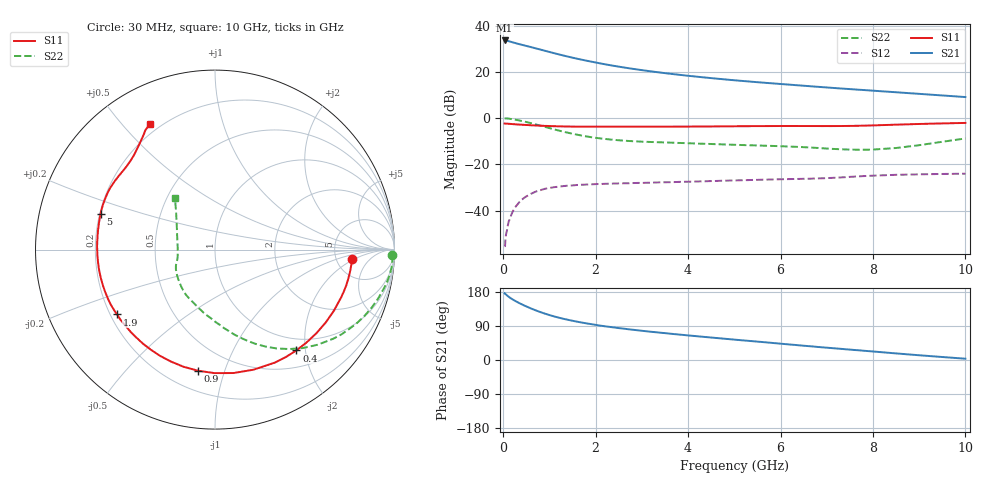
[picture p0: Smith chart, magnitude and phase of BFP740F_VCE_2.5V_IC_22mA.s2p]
! Infineon Technologies  Discrete & RF Semiconductors
! BFP740F
! VCE =  2.5 V,  IC =  22 mA
! Common Emitter S-Parameters:  Oct 2012
# GHz  S  MA  R  50
!  f  S11  S21  S12  S22
! GHz  MAG  ANG  MAG  ANG  MAG  ANG  MAG  ANG
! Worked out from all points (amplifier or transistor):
!   99 points, 30 MHz to 10 GHz, reference 50 ohm
!   highest |S21| = 33.6 dB at 30 MHz (marker M1)
!   |S21| within 3 dB of that: start of sweep to 624.2 MHz
!   unconditionally stable (mu >= 1): 5.748 GHz to end of sweep
!   at 350 MHz: K = 0.15, MSG = 34.2 dB, |S12| = -36.3 dB
!   at 3.5 GHz: K = 0.71, MSG = 23.6 dB, |S12| = -27.7 dB
!   at 10 GHz: K = 1.20, MAG = 13.9 dB, |S12| = -24.0 dB
!   S11 on the Smith chart (normalised r, x): 30 MHz: 7.05, -1.87; 400 MHz: 0.78, -1.83; 900 MHz: 0.32, -0.82; 1.9 GHz: 0.23, -0.29; 5 GHz: 0.20, +0.15; 10 GHz: 0.16, +0.60
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0.03  0.7661 -4.1  48.05 176.0  0.0017 85.0  0.9882 -1.9
0.07  0.7621 -9.9  47.65 171.8  0.0034 86.8  0.989 -5.8
0.11  0.7581 -15.3  46.54 167.7  0.0053 81.3  0.9794 -9.3
0.15  0.7516 -20.7  45.39 164.1  0.007 79.6  0.9668 -12.7
0.2  0.7449 -27.2  43.86 160.1  0.0093 79.1  0.9494 -16.6
0.3  0.7322 -39.5  41.15 153.2  0.0133 71.2  0.9113 -23.9
0.4  0.7219 -51.1  38.78 147.0  0.0171 66.2  0.8686 -30.6
0.6  0.7027 -72.2  34.52 136.0  0.0231 56.7  0.7799 -42.8
0.8  0.6885 -90.1  30.58 126.6  0.0276 48.9  0.691 -53.3
0.9  0.6815 -97.9  28.79 122.4  0.0296 45.7  0.6487 -58.1
1.1  0.6704 -111.5  25.51 115.0  0.0321 40.2  0.5729 -66.6
1.3  0.6624 -122.7  22.71 108.8  0.0339 36.5  0.5098 -74.0
1.5  0.6572 -132.0  20.37 103.5  0.0351 33.3  0.4594 -80.5
1.7  0.6548 -139.8  18.4 98.8  0.0363 30.9  0.4194 -86.5
1.9  0.6551 -146.5  16.76 94.7  0.0371 29.0  0.3882 -92.3
2.5  0.6556 -161.7  13.03 84.2  0.0388 25.6  0.3328 -107.2
3.4  0.6559 -177.1  9.706 72.0  0.0409 23.6  0.3006 -121.9
5  0.6681 162.5  6.615 53.8  0.0449 23.1  0.2654 -139.4
5.1  0.6696 161.4  6.484 52.7  0.0452 22.9  0.2637 -140.7
6.7  0.6754 143.9  4.86 35.7  0.0493 23.1  0.2301 -159.8
8.5  0.7236 125.6  3.638 17.4  0.0595 20.7  0.2261 159.0
10  0.7892 117.3  2.863 3.4  0.0629 15.7  0.3641 127.8
